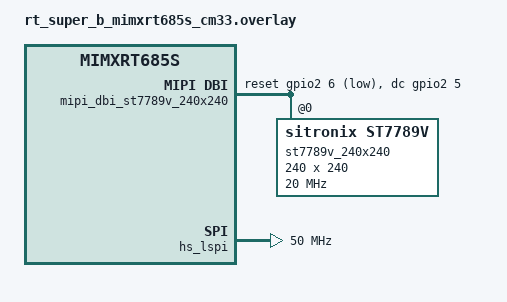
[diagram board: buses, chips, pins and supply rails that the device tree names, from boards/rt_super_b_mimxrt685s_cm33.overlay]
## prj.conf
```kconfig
CONFIG_HEAP_MEM_POOL_SIZE=16384
CONFIG_LOG=y
CONFIG_DISPLAY=y


#RTT Shell
CONFIG_UART_CONSOLE=n
CONFIG_RTT_CONSOLE=y
CONFIG_USE_SEGGER_RTT=y
CONFIG_SHELL_BACKEND_RTT=y
```

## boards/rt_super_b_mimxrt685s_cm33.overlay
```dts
#include <zephyr/dt-bindings/mipi_dbi/mipi_dbi.h>

/ {
	chosen {
		zephyr,display = &st7789v_240x240;
	};

//    display_spi {
//        compatible = "nxp,lpc-spi";
//        status = "okay";
//        #address-cells = <1>;
//        #size-cells = <0>;
//        dmas = <&dma0 10>, <&dma0 11>;
//        dma-names = "rx", "tx";
//        pinctrl-0 = <&pinmux_flexspi>;
//        pinctrl-names = "default";
//    };

    mipi_dbi_st7789v_240x240 {
        compatible = "zephyr,mipi-dbi-spi";
        spi-dev = <&hs_lspi>;
        dc-gpios = <&gpio2 5 GPIO_ACTIVE_HIGH>;
		reset-gpios = <&gpio2 6 GPIO_ACTIVE_LOW>;	

        write-only;
		#address-cells = <1>;
		#size-cells = <0>;


        st7789v_240x240: st7789v@0 {
			compatible = "sitronix,st7789v";
			mipi-max-frequency = <20000000>;
			reg = <0>;
			width = <240>;
			height = <240>;
			x-offset = <0>;
			y-offset = <0>;
			vcom = <0x19>;
			gctrl = <0x35>;
			vrhs = <0x12>;
			vdvs = <0x20>;
			mdac = <0x00>;
			gamma = <0x01>;
			colmod = <0x05>;
			lcm = <0x2c>;
			porch-param = [0c 0c 00 33 33];
			cmd2en-param = [5a 69 02 01];
			pwctrl1-param = [a4 a1];
			pvgam-param = [D0 04 0D 11 13 2B 3F 54 4C 18 0D 0B 1F 23];
			nvgam-param = [D0 04 0C 11 13 2C 3F 44 51 2F 1F 1F 20 23];
			ram-param = [00 F0];
			rgb-param = [CD 08 14];
			mipi-mode = "MIPI_DBI_MODE_SPI_4WIRE";
		};

    };
};

&hs_lspi {
    status = "okay";
	pinctrl-0 = <&hs_lspi_default>;
	pinctrl-names = "default";
	clock-frequency = <50000000>;
	cs-gpios = <&gpio1 14 GPIO_ACTIVE_LOW>;
};

 

&pinctrl {

    pinmux_flexspi: pinmux_flexspi {
		group0 {
			pinmux = <FLEXSPI0A_SCLK_PIO1_18>,
					<FLEXSPI0A_SS0_N_PIO1_19>,
					<FLEXSPI0A_DATA0_PIO1_20>,
					<FLEXSPI0A_DATA1_PIO1_21>,
					<FLEXSPI0A_DATA2_PIO1_22>,
					<FLEXSPI0A_DATA3_PIO1_23>;
			input-enable;
			slew-rate = "normal";
			drive-strength = "high";
		};
    };

	hs_lspi_default: hs_lspi_default {
		group0 {
			pinmux = <HS_SPI_SCK_PIO1_11>,
					<HS_SPI_MISO_PIO1_12>,
					<HS_SPI_MOSI_PIO1_13>;
			input-enable;
			slew-rate = "normal";
			drive-strength = "high";
		};
	};
};

/*

#include <zephyr/dt-bindings/mipi_dbi/mipi_dbi.h>

/ {
	chosen {
		zephyr,display = &st7789v_st7789v_waveshare_240x240;
	};

	mipi_dbi_st7789v_waveshare_240x240 {
		compatible = "zephyr,mipi-dbi-spi";
		spi-dev = <&arduino_spi>;
		dc-gpios = <&arduino_header 15 GPIO_ACTIVE_HIGH>;	
		reset-gpios = <&arduino_header 14 GPIO_ACTIVE_LOW>;	
		write-only;
		#address-cells = <1>;
		#size-cells = <0>;

		st7789v_st7789v_waveshare_240x240: st7789v@0 {
			compatible = "sitronix,st7789v";
			mipi-max-frequency = <20000000>;
			reg = <0>;
			width = <240>;
			height = <240>;
			x-offset = <0>;
			y-offset = <0>;
			vcom = <0x19>;
			gctrl = <0x35>;
			vrhs = <0x12>;
			vdvs = <0x20>;
			mdac = <0x00>;
			gamma = <0x01>;
			colmod = <0x05>;
			lcm = <0x2c>;
			porch-param = [0c 0c 00 33 33];
			cmd2en-param = [5a 69 02 01];
			pwctrl1-param = [a4 a1];
			pvgam-param = [D0 04 0D 11 13 2B 3F 54 4C 18 0D 0B 1F 23];
			nvgam-param = [D0 04 0C 11 13 2C 3F 44 51 2F 1F 1F 20 23];
			ram-param = [00 F0];
			rgb-param = [CD 08 14];
			mipi-mode = "MIPI_DBI_MODE_SPI_4WIRE";
		};
	};
};

&arduino_spi {
	status = "okay";
	cs-gpios = <&arduino_header 16 GPIO_ACTIVE_LOW>;	
};
*/
```

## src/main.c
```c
/*
 * Copyright (c) 2019 Jan Van Winkel <jan.van_winkel@dxplore.eu>
 *
 * Based on ST7789V sample:
 * Copyright (c) 2019 Marc Reilly
 *
 * SPDX-License-Identifier: Apache-2.0
 */

#include <zephyr/logging/log.h>
LOG_MODULE_REGISTER(sample, LOG_LEVEL_INF);

#include <zephyr/kernel.h>
#include <zephyr/device.h>
#include <zephyr/drivers/display.h>

#ifdef CONFIG_ARCH_POSIX
#include "posix_board_if.h"
#endif

enum corner {
	TOP_LEFT,
	TOP_RIGHT,
	BOTTOM_RIGHT,
	BOTTOM_LEFT
};

typedef void (*fill_buffer)(enum corner corner, uint8_t grey, uint8_t *buf,
			    size_t buf_size);


#ifdef CONFIG_ARCH_POSIX
static void posix_exit_main(int exit_code)
{
#if CONFIG_TEST
	if (exit_code == 0) {
		LOG_INF("PROJECT EXECUTION SUCCESSFUL");
	} else {
		LOG_INF("PROJECT EXECUTION FAILED");
	}
#endif
	posix_exit(exit_code);
}
#endif

static void fill_buffer_argb8888(enum corner corner, uint8_t grey, uint8_t *buf,
				 size_t buf_size)
{
	uint32_t color = 0;

	switch (corner) {
	case TOP_LEFT:
		color = 0xFFFF0000u;
		break;
	case TOP_RIGHT:
		color = 0xFF00FF00u;
		break;
	case BOTTOM_RIGHT:
		color = 0xFF0000FFu;
		break;
	case BOTTOM_LEFT:
		color = 0xFF000000u | grey << 16 | grey << 8 | grey;
		break;
	}

	for (size_t idx = 0; idx < buf_size; idx += 4) {
		*((uint32_t *)(buf + idx)) = color;
	}
}

static void fill_buffer_rgb888(enum corner corner, uint8_t grey, uint8_t *buf,
			       size_t buf_size)
{
	uint32_t color = 0;

	switch (corner) {
	case TOP_LEFT:
		color = 0x00FF0000u;
		break;
	case TOP_RIGHT:
		color = 0x0000FF00u;
		break;
	case BOTTOM_RIGHT:
		color = 0x000000FFu;
		break;
	case BOTTOM_LEFT:
		color = grey << 16 | grey << 8 | grey;
		break;
	}

	for (size_t idx = 0; idx < buf_size; idx += 3) {
		*(buf + idx + 0) = color >> 16;
		*(buf + idx + 1) = color >> 8;
		*(buf + idx + 2) = color >> 0;
	}
}

static uint16_t get_rgb565_color(enum corner corner, uint8_t grey)
{
	uint16_t color = 0;
	uint16_t grey_5bit;

	switch (corner) {
	case TOP_LEFT:
		color = 0xF800u;
		break;
	case TOP_RIGHT:
		color = 0x07E0u;
		break;
	case BOTTOM_RIGHT:
		color = 0x001Fu;
		break;
	case BOTTOM_LEFT:
		grey_5bit = grey & 0x1Fu;
		/* shift the green an extra bit, it has 6 bits */
		color = grey_5bit << 11 | grey_5bit << (5 + 1) | grey_5bit;
		break;
	}
	return color;
}

static void fill_buffer_rgb565(enum corner corner, uint8_t grey, uint8_t *buf,
			       size_t buf_size)
{
	uint16_t color = get_rgb565_color(corner, grey);

	for (size_t idx = 0; idx < buf_size; idx += 2) {
		*(buf + idx + 0) = (color >> 8) & 0xFFu;
		*(buf + idx + 1) = (color >> 0) & 0xFFu;
	}
}

static void fill_buffer_bgr565(enum corner corner, uint8_t grey, uint8_t *buf,
			       size_t buf_size)
{
	uint16_t color = get_rgb565_color(corner, grey);

	for (size_t idx = 0; idx < buf_size; idx += 2) {
		*(uint16_t *)(buf + idx) = color;
	}
}

static void fill_buffer_mono(enum corner corner, uint8_t grey,
			     uint8_t black, uint8_t white,
			     uint8_t *buf, size_t buf_size)
{
	uint16_t color;

	switch (corner) {
	case BOTTOM_LEFT:
		color = (grey & 0x01u) ? white : black;
		break;
	default:
		color = black;
		break;
	}

	memset(buf, color, buf_size);
}

static inline void fill_buffer_l_8(enum corner corner, uint8_t grey, uint8_t *buf, size_t buf_size)
{
	for (size_t idx = 0; idx < buf_size; idx += 1) {
		*(uint8_t *)(buf + idx) = grey;
	}
}

static inline void fill_buffer_mono01(enum corner corner, uint8_t grey,
				      uint8_t *buf, size_t buf_size)
{
	fill_buffer_mono(corner, grey, 0x00u, 0xFFu, buf, buf_size);
}

static inline void fill_buffer_mono10(enum corner corner, uint8_t grey,
				      uint8_t *buf, size_t buf_size)
{
	fill_buffer_mono(corner, grey, 0xFFu, 0x00u, buf, buf_size);
}

int prev_init()
{
	CLOCK_AttachClk(kFFRO_to_FLEXCOMM14);
	return 0;
}

SYS_INIT(prev_init, PRE_KERNEL_1, 0);


int main(void)
{
	size_t x;
	size_t y;
	size_t rect_w;
	size_t rect_h;
	size_t h_step;
	size_t scale;
	size_t grey_count;
	uint8_t bg_color;
	uint8_t *buf;
	int32_t grey_scale_sleep;
	const struct device *display_dev;
	struct display_capabilities capabilities;
	struct display_buffer_descriptor buf_desc;
	size_t buf_size = 0;
	fill_buffer fill_buffer_fnc = NULL;

	display_dev = DEVICE_DT_GET(DT_CHOSEN(zephyr_display));
	if (!device_is_ready(display_dev)) {
		LOG_ERR("Device %s not found. Aborting sample.",
			display_dev->name);
#ifdef CONFIG_ARCH_POSIX
		posix_exit_main(1);
#else
		return 0;
#endif
	}

	LOG_INF("Display sample for %s", display_dev->name);
	display_get_capabilities(display_dev, &capabilities);

	if (capabilities.screen_info & SCREEN_INFO_MONO_VTILED) {
		rect_w = 16;
		rect_h = 8;
	} else {
		rect_w = 2;
		rect_h = 1;
	}

	if ((capabilities.x_resolution < 3 * rect_w) ||
	    (capabilities.y_resolution < 3 * rect_h) ||
	    (capabilities.x_resolution < 8 * rect_h)) {
		rect_w = capabilities.x_resolution * 40 / 100;
		rect_h = capabilities.y_resolution * 40 / 100;
		h_step = capabilities.y_resolution * 20 / 100;
		scale = 1;
	} else {
		h_step = rect_h;
		scale = (capabilities.x_resolution / 8) / rect_h;
	}

	rect_w *= scale;
	rect_h *= scale;

	if (capabilities.screen_info & SCREEN_INFO_EPD) {
		grey_scale_sleep = 10000;
	} else {
		grey_scale_sleep = 100;
	}

	if (capabilities.screen_info & SCREEN_INFO_X_ALIGNMENT_WIDTH) {
		rect_w = capabilities.x_resolution;
	}

	buf_size = rect_w * rect_h;

	if (buf_size < (capabilities.x_resolution * h_step)) {
		buf_size = capabilities.x_resolution * h_step;
	}

	switch (capabilities.current_pixel_format) {
	case PIXEL_FORMAT_ARGB_8888:
		bg_color = 0x00u;
		fill_buffer_fnc = fill_buffer_argb8888;
		buf_size *= 4;
		break;
	case PIXEL_FORMAT_RGB_888:
		bg_color = 0xFFu;
		fill_buffer_fnc = fill_buffer_rgb888;
		buf_size *= 3;
		break;
	case PIXEL_FORMAT_RGB_565:
		bg_color = 0xFFu;
		fill_buffer_fnc = fill_buffer_rgb565;
		buf_size *= 2;
		break;
	case PIXEL_FORMAT_BGR_565:
		bg_color = 0xFFu;
		fill_buffer_fnc = fill_buffer_bgr565;
		buf_size *= 2;
		break;
	case PIXEL_FORMAT_L_8:
		bg_color = 0xFFu;
		fill_buffer_fnc = fill_buffer_l_8;
		break;
	case PIXEL_FORMAT_MONO01:
		bg_color = 0xFFu;
		fill_buffer_fnc = fill_buffer_mono01;
		buf_size = DIV_ROUND_UP(DIV_ROUND_UP(
			buf_size, NUM_BITS(uint8_t)), sizeof(uint8_t));
		break;
	case PIXEL_FORMAT_MONO10:
		bg_color = 0x00u;
		fill_buffer_fnc = fill_buffer_mono10;
		buf_size = DIV_ROUND_UP(DIV_ROUND_UP(
			buf_size, NUM_BITS(uint8_t)), sizeof(uint8_t));
		break;
	default:
		LOG_ERR("Unsupported pixel format. Aborting sample.");
#ifdef CONFIG_ARCH_POSIX
		posix_exit_main(1);
#else
		return 0;
#endif
	}

	buf = k_malloc(buf_size);

	if (buf == NULL) {
		LOG_ERR("Could not allocate memory. Aborting sample.");
#ifdef CONFIG_ARCH_POSIX
		posix_exit_main(1);
#else
		return 0;
#endif
	}

	(void)memset(buf, bg_color, buf_size);

	buf_desc.buf_size = buf_size;
	buf_desc.pitch = capabilities.x_resolution;
	buf_desc.width = capabilities.x_resolution;
	buf_desc.height = h_step;

	/*
	 * The following writes will only render parts of the image,
	 * so turn this option on.
	 * This allows double-buffered displays to hold the pixels
	 * back until the image is complete.
	 */
	buf_desc.frame_incomplete = true;

	for (int idx = 0; idx < capabilities.y_resolution; idx += h_step) {
		/*
		 * Tweaking the height value not to draw outside of the display.
		 * It is required when using a monochrome display whose vertical
		 * resolution can not be divided by 8.
		 */
		if ((capabilities.y_resolution - idx) < h_step) {
			buf_desc.height = (capabilities.y_resolution - idx);
		}
		display_write(display_dev, 0, idx, &buf_desc, buf);
	}

	buf_desc.pitch = rect_w;
	buf_desc.width = rect_w;
	buf_desc.height = rect_h;

	fill_buffer_fnc(TOP_LEFT, 0, buf, buf_size);
	x = 0;
	y = 0;
	display_write(display_dev, x, y, &buf_desc, buf);

	fill_buffer_fnc(TOP_RIGHT, 0, buf, buf_size);
	x = capabilities.x_resolution - rect_w;
	y = 0;
	display_write(display_dev, x, y, &buf_desc, buf);

	/*
	 * This is the last write of the frame, so turn this off.
	 * Double-buffered displays will now present the new image
	 * to the user.
	 */
	buf_desc.frame_incomplete = false;

	fill_buffer_fnc(BOTTOM_RIGHT, 0, buf, buf_size);
	x = capabilities.x_resolution - rect_w;
	y = capabilities.y_resolution - rect_h;
	display_write(display_dev, x, y, &buf_desc, buf);

	display_blanking_off(display_dev);

	grey_count = 0;
	x = 0;
	y = capabilities.y_resolution - rect_h;

	LOG_INF("Display starts");
	while (1) {
		fill_buffer_fnc(BOTTOM_LEFT, grey_count, buf, buf_size);
		display_write(display_dev, x, y, &buf_desc, buf);
		++grey_count;
		k_msleep(grey_scale_sleep);
#if CONFIG_TEST
		if (grey_count >= 30) {
			LOG_INF("Display sample test mode done %s", display_dev->name);
			break;
		}
#endif
	}

#ifdef CONFIG_ARCH_POSIX
	posix_exit_main(0);
#endif
	return 0;
}
```
